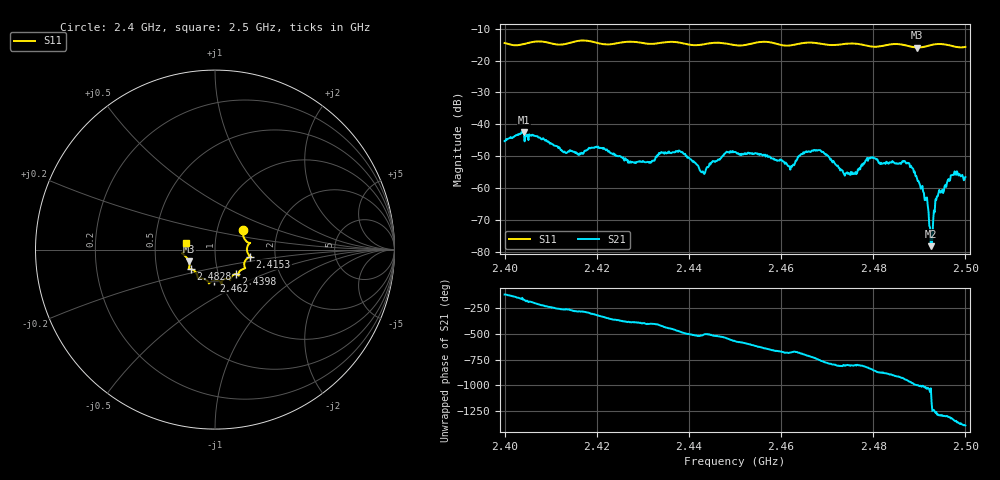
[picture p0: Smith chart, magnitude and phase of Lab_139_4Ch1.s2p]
# Hz S RI R
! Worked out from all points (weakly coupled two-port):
!   601 points, 2.4 GHz to 2.5 GHz, reference 50 ohm
!   highest |S21| = -42.46 dB at 2.4042 GHz (marker M1); lowest = -78.3 dB at 2.4925 GHz (marker M2)
!   lowest |S11| = -15.9 dB at 2.4895 GHz (marker M3), VSWR 1.38, Z = 37 - j5.02 ohm
!   |S11| at or under -10 dB: start of sweep to end of sweep
!   S12 and S22 are empty: the file has one direction only
!   S11 on the Smith chart (normalised r, x): 2.4 GHz: 1.33, +0.29; 2.4153 GHz: 1.48, -0.12; 2.4398 GHz: 1.21, -0.34; 2.462 GHz: 0.93, -0.33; 2.4828 GHz: 0.74, -0.17; 2.5 GHz: 0.72, +0.06
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2.4e9  0.1556 0.1067  -0.00244 -0.00486  0 0  0 0
2.404167e9  0.1765 0.0451  -0.00734 -0.00169  0 0  0 0
2.415333e9  0.1959 -0.0387  0.00052 0.0035  0 0  0 0
2.416667e9  0.202 -0.0425  0.000662 0.00351  0 0  0 0
2.428e9  0.1672 -0.1036  0.00225 -0.00112  0 0  0 0
2.433333e9  0.1309 -0.1336  0.00215 -0.00246  0 0  0 0
2.439833e9  0.1157 -0.1365  -0.00225 -0.00204  0 0  0 0
2.443e9  0.0891 -0.1551  -0.00161 -0.000857  0 0  0 0
2.45e9  0.065 -0.1624  -0.00318 0.00182  0 0  0 0
2.462e9  -0.00479 -0.1727  0.00146 0.00127  0 0  0 0
2.466667e9  -0.0341 -0.1883  0.00386 -0.000306  0 0  0 0
2.474e9  -0.0882 -0.1606  0.000209 -0.00168  0 0  0 0
2.4795e9  -0.106 -0.1286  -0.00155 -0.00259  0 0  0 0
2.482833e9  -0.1363 -0.1091  -0.00248 -0.000725  0 0  0 0
2.483333e9  -0.1401 -0.1088  -0.00234 -0.00052  0 0  0 0
2.487333e9  -0.1428 -0.0942  -0.00167 0.00185  0 0  0 0
2.4895e9  -0.1457 -0.0661  0.000162 0.0014  0 0  0 0
2.4915e9  -0.1628 -0.0394  0.000437 0.000552  0 0  0 0
2.4925e9  -0.1722 -0.0303  7.45e-05 9.68e-05  0 0  0 0
2.494e9  -0.1805 -0.0226  -0.000701 0.000249  0 0  0 0
2.497333e9  -0.1675 -0.00377  -0.000531 0.00152  0 0  0 0
2.5e9  -0.1593 0.0384  0.000923 0.00116  0 0  0 0
